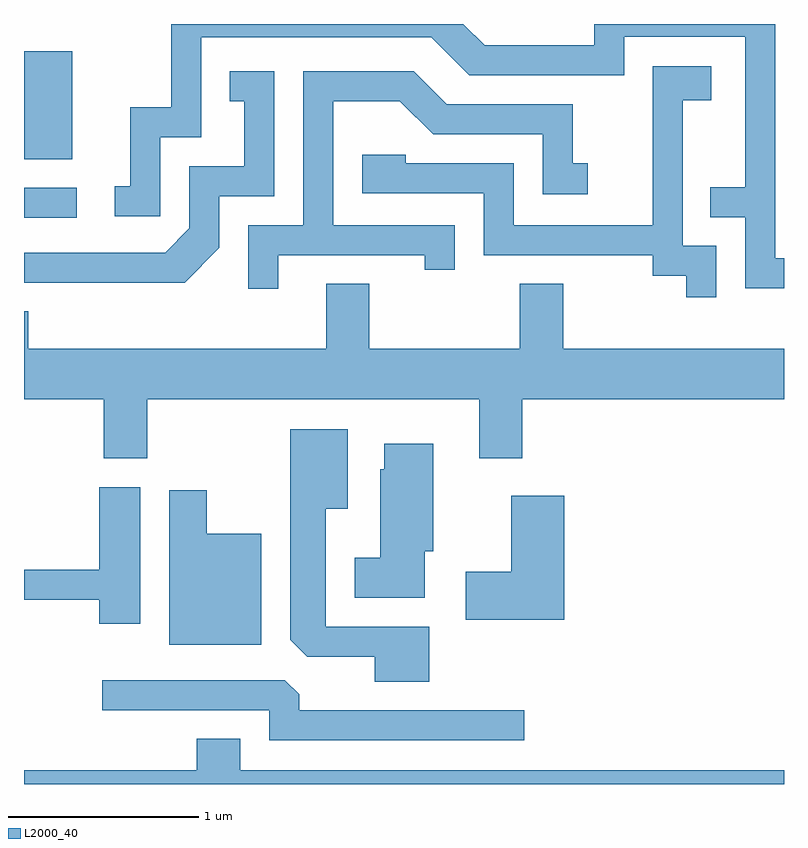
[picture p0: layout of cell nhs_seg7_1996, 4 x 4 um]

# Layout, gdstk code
import gdstk
lib = gdstk.Library(unit=1e-6, precision=1e-09)
def R(c, l, rs):  # rectangles x0, y0, x1, y1
    for r in rs: c.add(gdstk.rectangle(r[:2], r[2:], *l))
def P(c, l, *ps):  # polygons
    for p in ps: c.add(gdstk.Polygon(p, *l))
L2000_40 = (2000, 40)

nhs_seg7_1996 = lib.new_cell('nhs_seg7_1996')
R(nhs_seg7_1996, L2000_40, [(245.611,1755.231,245.888,1755.389), (245.611,1755.541,245.864,1756.109)])
P(nhs_seg7_1996, L2000_40, [(249.611,1755.019),(249.564,1755.019),(249.564,1756.252),(248.611,1756.252),(248.611,1756.139),(248.037,1756.139),(247.924,1756.252),(246.386,1756.252),(246.386,1755.814),(246.171,1755.814),(246.171,1755.399),(246.088,1755.399),(246.088,1755.241),(246.329,1755.241),(246.329,1755.656),(246.544,1755.656),(246.544,1756.181),(247.754,1756.181),(247.954,1755.981),(248.769,1755.981),(248.769,1756.186),(249.406,1756.186),(249.406,1755.394),(249.223,1755.394),(249.223,1755.236),(249.406,1755.236),(249.406,1754.861),(249.611,1754.861)],
  [(249.254,1755.084),(249.079,1755.084),(249.079,1755.851),(249.229,1755.851),(249.229,1756.029),(248.921,1756.029),(248.921,1755.194),(248.189,1755.194),(248.189,1755.519),(247.619,1755.519),(247.619,1755.564),(247.391,1755.564),(247.391,1755.361),(248.031,1755.361),(248.031,1755.036),(248.921,1755.036),(248.921,1754.926),(249.096,1754.926),(249.096,1754.813),(249.254,1754.813)],
  [(246.639,1755.074),(246.639,1755.346),(246.929,1755.346),(246.929,1756.004),(246.693,1756.004),(246.693,1755.846),(246.771,1755.846),(246.771,1755.504),(246.481,1755.504),(246.481,1755.177),(246.354,1755.049),(245.611,1755.049),(245.611,1754.891),(246.457,1754.891)],
  [(246.949,1755.036),(247.721,1755.036),(247.721,1754.958),(247.879,1754.958),(247.879,1755.194),(247.239,1755.194),(247.239,1755.846),(247.589,1755.846),(247.764,1755.671),(248.341,1755.671),(248.341,1755.356),(248.578,1755.356),(248.578,1755.519),(248.499,1755.519),(248.499,1755.829),(247.837,1755.829),(247.662,1756.004),(247.081,1756.004),(247.081,1755.194),(246.791,1755.194),(246.791,1754.858),(246.949,1754.858)],
  [(246.259,1754.276),(248.006,1754.276),(248.006,1753.966),(248.234,1753.966),(248.234,1754.276),(249.611,1754.276),(249.611,1754.544),(248.449,1754.544),(248.449,1754.884),(248.221,1754.884),(248.221,1754.544),(247.429,1754.544),(247.429,1754.884),(247.201,1754.884),(247.201,1754.544),(245.634,1754.544),(245.634,1754.739),(245.611,1754.739),(245.611,1754.276),(246.031,1754.276),(246.031,1753.966),(246.259,1753.966)],
  [(247.744,1753.079),(247.199,1753.079),(247.199,1753.701),(247.314,1753.701),(247.314,1754.119),(247.011,1754.119),(247.011,1753.012),(247.102,1752.921),(247.456,1752.921),(247.456,1752.791),(247.744,1752.791)],
  [(247.719,1753.476),(247.764,1753.476),(247.764,1754.044),(247.506,1754.044),(247.506,1753.909),(247.486,1753.909),(247.486,1753.444),(247.351,1753.444),(247.351,1753.231),(247.719,1753.231)],
  [(246.224,1753.814),(246.006,1753.814),(246.006,1753.379),(245.611,1753.379),(245.611,1753.221),(246.006,1753.221),(246.006,1753.096),(246.224,1753.096)],
  [(246.859,1753.569),(246.574,1753.569),(246.574,1753.799),(246.376,1753.799),(246.376,1752.986),(246.859,1752.986)],
  [(248.454,1753.769),(248.176,1753.769),(248.176,1753.369),(247.936,1753.369),(247.936,1753.116),(248.454,1753.116)],
  [(248.243,1752.639),(247.059,1752.639),(247.059,1752.724),(246.984,1752.799),(246.023,1752.799),(246.023,1752.641),(246.901,1752.641),(246.901,1752.481),(248.243,1752.481)],
  [(249.611,1752.324),(246.749,1752.324),(246.749,1752.489),(246.521,1752.489),(246.521,1752.324),(245.611,1752.324),(245.611,1752.252),(249.611,1752.252)])

lib.write_gds('nhs_seg7_1996.gds')
